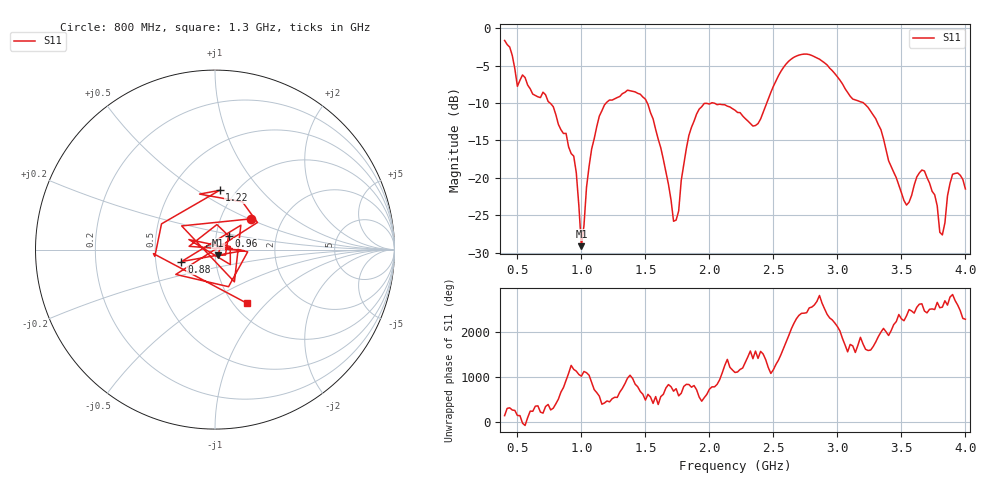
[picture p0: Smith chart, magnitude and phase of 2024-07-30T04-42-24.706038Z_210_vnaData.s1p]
!Created with skrf (http://scikit-rf.org).
# Hz S RI R 50.0
!freq ReS11 ImS11
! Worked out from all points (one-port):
!   181 points, 400 MHz to 4 GHz, reference 50 ohm
!   lowest |S11| = -29.1 dB at 1 GHz (marker M1), VSWR 1.07, Z = 51.4 - j3.28 ohm
!   |S11| at or under -10 dB: 754.5 MHz to 1.193 GHz (438.9 MHz wide, 45.1 % of centre); 1.515 GHz to 2.016 GHz (501.2 MHz wide, 28.4 % of centre); 3.204 GHz to end of sweep (the widest 3 of 4)
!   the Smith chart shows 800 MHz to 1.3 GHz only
!   S11 on the Smith chart (normalised r, x): 800 MHz: 1.39, +0.51; 880 MHz: 0.68, -0.09; 960 MHz: 1.15, +0.18; 1.22 GHz: 0.84, +0.62; 1.3 GHz: 1.15, -0.79
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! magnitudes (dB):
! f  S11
! 400 MHz  -1.7
! 500 MHz  -7.8
! 540 MHz  -6.3
! 800 MHz  -11.5
! 860 MHz  -14.1
! 880 MHz  -14.1
! 960 MHz  -19.3
! 1 GHz  -29.1
! 1.08 GHz  -16.1
! 1.22 GHz  -9.6
! 1.3 GHz  -9.1
! 1.5 GHz  -9.5
! 1.62 GHz  -16.0
! 1.72 GHz  -25.8
! 1.76 GHz  -24.4
! 1.84 GHz  -14.3
! 1.92 GHz  -10.8
! 2.2 GHz  -11.0
! 2.38 GHz  -12.7
! 2.66 GHz  -3.9
! 2.86 GHz  -4.2
! 3.1 GHz  -9.1
! 3.3 GHz  -12.1
! 3.56 GHz  -23.2
! 3.68 GHz  -19.1
! 3.82 GHz  -27.6
! 3.9 GHz  -19.5
! 4 GHz  -21.5
